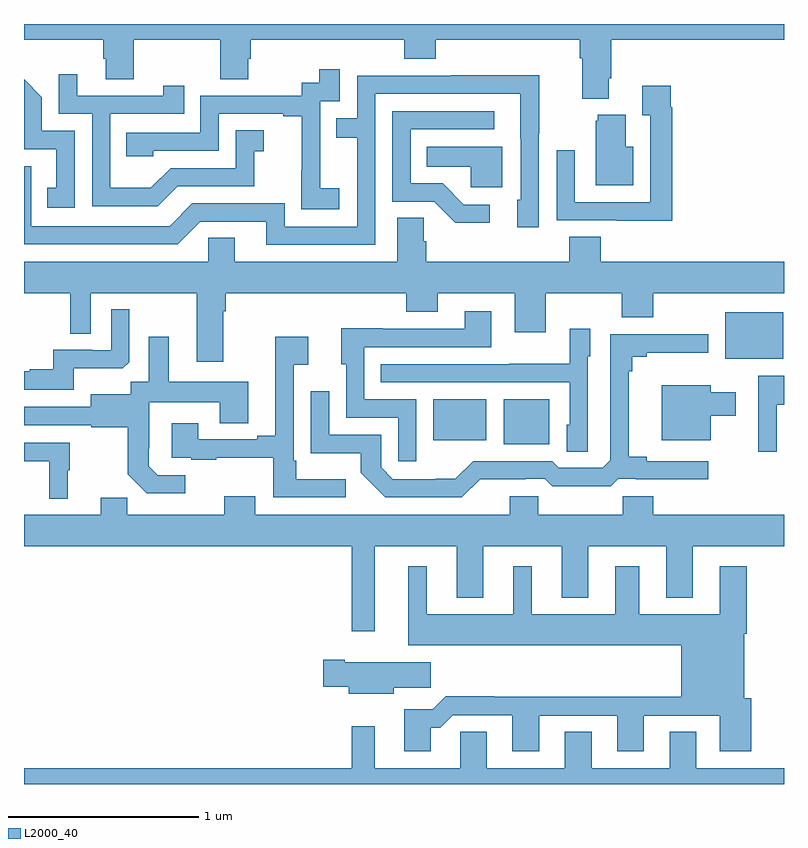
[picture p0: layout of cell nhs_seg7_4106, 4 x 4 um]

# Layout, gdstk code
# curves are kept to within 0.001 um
import gdstk
lib = gdstk.Library(unit=1e-6, precision=1e-09)
def R(c, l, rs):  # rectangles x0, y0, x1, y1
    for r in rs: c.add(gdstk.rectangle(r[:2], r[2:], *l))
def P(c, l, *ps):  # polygons
    for p in ps: c.add(gdstk.Polygon(p, *l))
L2000_40 = (2000, 40)

nhs_seg7_4106 = lib.new_cell('nhs_seg7_4106')
R(nhs_seg7_4106, L2000_40, [(373.526,1031.789,373.765,1032.025), (373.154,1031.81,373.432,1032.025), (374.69,1032.239,374.995,1032.484)])
P(nhs_seg7_4106, L2000_40, [(374.077,1033.714),(374.09,1033.714),(374.09,1033.916),(375,1033.916),(375,1034),(371,1034),(371,1033.916),(371.417,1033.916),(371.417,1033.818),(371.429,1033.818),(371.429,1033.708),(371.577,1033.708),(371.577,1033.916),(372.034,1033.916),(372.034,1033.708),(372.181,1033.708),(372.181,1033.818),(372.194,1033.818),(372.194,1033.916),(373.001,1033.916),(373.001,1033.817),(373.166,1033.817),(373.166,1033.916),(373.925,1033.916),(373.925,1033.82),(373.937,1033.82),(373.937,1033.607),(374.077,1033.607)],
  [(372.658,1033.135),(372.56,1033.135),(372.56,1033.364),(372.558,1033.364),(372.558,1033.593),(372.663,1033.593),(372.663,1033.762),(372.555,1033.762),(372.555,1033.692),(372.462,1033.692),(372.462,1033.623),(371.928,1033.623),(371.928,1033.428),(371.539,1033.428),(371.539,1033.305),(371.679,1033.305),(371.679,1033.332),(372.024,1033.332),(372.024,1033.527),(372.365,1033.527),(372.365,1033.515),(372.461,1033.515),(372.461,1033.231),(372.46,1033.231),(372.46,1033.025),(372.658,1033.025)],
  [(371.809,1033.146),(372.213,1033.146),(372.213,1033.331),(372.262,1033.331),(372.262,1033.441),(372.114,1033.441),(372.114,1033.242),(371.772,1033.242),(371.668,1033.138),(371.454,1033.138),(371.454,1033.527),(371.843,1033.527),(371.843,1033.675),(371.732,1033.675),(371.732,1033.623),(371.281,1033.623),(371.281,1033.735),(371.184,1033.735),(371.184,1033.527),(371.358,1033.527),(371.358,1033.041),(371.704,1033.041)],
  [(372.849,1033.632),(373.613,1033.632),(373.614,1033.074),(373.595,1033.074),(373.595,1032.93),(373.71,1032.93),(373.71,1033.423),(373.713,1033.423),(373.713,1033.73),(373.249,1033.73),(373.249,1033.728),(372.753,1033.728),(372.753,1033.503),(372.643,1033.503),(372.643,1033.402),(372.753,1033.402),(372.753,1032.933),(372.372,1032.933),(372.372,1033.056),(371.886,1033.056),(371.766,1032.936),(371.037,1032.936),(371.037,1033.251),(371,1033.251),(371,1032.84),(371.808,1032.84),(371.928,1032.96),(372.275,1032.96),(372.275,1032.837),(372.849,1032.837)],
  [(371.268,1033.437),(371.094,1033.437),(371.094,1033.614),(371,1033.708),(371,1033.341),(371.171,1033.341),(371.171,1033.137),(371.122,1033.137),(371.122,1033.032),(371.268,1033.032)],
  [(374.411,1033.562),(374.404,1033.562),(374.404,1033.675),(374.255,1033.675),(374.255,1033.519),(374.295,1033.519),(374.295,1033.062),(373.899,1033.062),(373.899,1033.336),(373.803,1033.336),(373.803,1032.966),(374.119,1032.966),(374.119,1032.965),(374.411,1032.965)],
  [(373.45,1033.05),(373.315,1033.05),(373.204,1033.161),(373.035,1033.161),(373.035,1033.446),(373.474,1033.446),(373.474,1033.542),(372.939,1033.542),(372.939,1033.065),(373.158,1033.065),(373.271,1032.953),(373.45,1032.953)],
  [(374.206,1033.354),(374.167,1033.354),(374.167,1033.522),(374.021,1033.522),(374.021,1033.491),(374.009,1033.491),(374.009,1033.151),(374.206,1033.151)],
  [(373.516,1033.354),(373.12,1033.354),(373.12,1033.25),(373.351,1033.25),(373.351,1033.142),(373.516,1033.142)],
  [(372.049,1032.488),(372.062,1032.488),(372.062,1032.584),(373.013,1032.584),(373.013,1032.485),(373.177,1032.485),(373.177,1032.584),(373.583,1032.584),(373.583,1032.378),(373.747,1032.378),(373.747,1032.584),(374.147,1032.584),(374.147,1032.456),(374.311,1032.456),(374.311,1032.584),(375,1032.584),(375,1032.748),(374.036,1032.748),(374.036,1032.881),(373.871,1032.881),(373.871,1032.748),(373.118,1032.748),(373.118,1032.857),(373.104,1032.857),(373.104,1032.98),(372.965,1032.98),(372.965,1032.748),(372.109,1032.748),(372.109,1032.875),(371.97,1032.875),(371.97,1032.748),(371,1032.748),(371,1032.584),(371.244,1032.584),(371.244,1032.37),(371.352,1032.37),(371.352,1032.584),(371.909,1032.584),(371.909,1032.222),(372.049,1032.222)],
  [(371.263,1032.188),(371.521,1032.188),(371.553,1032.219),(371.553,1032.499),(371.46,1032.499),(371.46,1032.282),(371.36,1032.282),(371.36,1032.285),(371.153,1032.285),(371.153,1032.184),(371.029,1032.184),(371.029,1032.172),(371,1032.172),(371,1032.075),(371.263,1032.075)],
  [(373.065,1032.024),(372.792,1032.024),(372.792,1032.3),(373.459,1032.3),(373.459,1032.487),(373.319,1032.487),(373.319,1032.396),(372.889,1032.396),(372.889,1032.398),(372.671,1032.398),(372.671,1032.21),(372.696,1032.21),(372.696,1031.928),(372.969,1031.928),(372.969,1031.7),(373.065,1031.7)],
  [(373.968,1032.252),(373.981,1032.252),(373.981,1032.397),(373.872,1032.397),(373.872,1032.211),(373.555,1032.211),(373.555,1032.21),(372.877,1032.21),(372.877,1032.114),(373.872,1032.114),(373.872,1031.892),(373.856,1031.892),(373.856,1031.749),(373.968,1031.749)],
  [(373.4,1031.603),(373.64,1031.603),(373.64,1031.607),(373.74,1031.607),(373.78,1031.568),(374.087,1031.568),(374.127,1031.607),(374.221,1031.607),(374.221,1031.603),(374.602,1031.603),(374.602,1031.7),(374.278,1031.7),(374.278,1031.723),(374.182,1031.723),(374.182,1032.173),(374.201,1032.173),(374.201,1032.25),(374.278,1032.25),(374.278,1032.269),(374.602,1032.269),(374.602,1032.366),(374.085,1032.366),(374.085,1031.703),(374.046,1031.664),(373.815,1031.664),(373.779,1031.7),(373.365,1031.7),(373.271,1031.606),(373.166,1031.606),(373.166,1031.604),(372.942,1031.604),(372.879,1031.667),(372.879,1031.838),(372.606,1031.838),(372.606,1032.067),(372.51,1032.067),(372.51,1031.741),(372.772,1031.741),(372.772,1031.639),(372.902,1031.508),(373.305,1031.508)],
  [(372.694,1031.605),(372.433,1031.605),(372.433,1031.701),(372.42,1031.701),(372.42,1032.206),(372.496,1032.206),(372.496,1032.355),(372.323,1032.355),(372.323,1031.833),(372.227,1031.833),(372.227,1031.814),(371.917,1031.814),(371.917,1031.899),(371.777,1031.899),(371.777,1031.718),(371.881,1031.718),(371.881,1031.706),(372.013,1031.706),(372.013,1031.717),(372.312,1031.717),(372.312,1031.508),(372.694,1031.508)],
  [(371.848,1031.625),(371.703,1031.625),(371.656,1031.672),(371.656,1031.767),(371.658,1031.767),(371.658,1032.008),(372.029,1032.008),(372.029,1031.899),(372.181,1031.899),(372.181,1032.118),(371.761,1032.118),(371.761,1032.355),(371.657,1032.355),(371.657,1032.116),(371.562,1032.116),(371.562,1032.052),(371.351,1032.052),(371.351,1031.985),(371,1031.985),(371,1031.889),(371.355,1031.889),(371.355,1031.877),(371.547,1031.877),(371.547,1031.631),(371.647,1031.531),(371.848,1031.531)],
  [(374.963,1031.996),(375,1031.996),(375,1032.148),(374.865,1032.148),(374.865,1031.748),(374.963,1031.748)],
  [(374.614,1031.939),(374.746,1031.939),(374.746,1032.061),(374.614,1032.061),(374.614,1032.1),(374.357,1032.1),(374.357,1031.81),(374.614,1031.81)],
  [(371.23,1031.652),(371.242,1031.652),(371.242,1031.796),(371,1031.796),(371,1031.7),(371.132,1031.7),(371.132,1031.501),(371.23,1031.501)],
  [(372.847,1031.252),(373.277,1031.252),(373.277,1030.979),(373.417,1030.979),(373.417,1031.252),(373.829,1031.252),(373.829,1030.979),(373.969,1030.979),(373.969,1031.252),(374.381,1031.252),(374.381,1030.979),(374.521,1030.979),(374.521,1031.252),(375,1031.252),(375,1031.416),(374.312,1031.416),(374.312,1031.514),(374.152,1031.514),(374.152,1031.416),(373.707,1031.416),(373.707,1031.514),(373.556,1031.514),(373.556,1031.416),(372.217,1031.416),(372.217,1031.515),(372.053,1031.515),(372.053,1031.416),(371.543,1031.416),(371.543,1031.507),(371.405,1031.507),(371.405,1031.416),(371,1031.416),(371,1031.252),(372.726,1031.252),(372.726,1030.803),(372.847,1030.803)],
  [(373.141,1030.295),(373.19,1030.295),(373.257,1030.362),(373.571,1030.362),(373.571,1030.173),(373.711,1030.173),(373.711,1030.359),(374.123,1030.359),(374.123,1030.173),(374.263,1030.173),(374.263,1030.359),(374.663,1030.359),(374.663,1030.173),(374.828,1030.173),(374.828,1030.452),(374.791,1030.452),(374.791,1030.79),(374.804,1030.79),(374.804,1031.146),(374.663,1031.146),(374.663,1030.894),(374.239,1030.894),(374.239,1031.146),(374.111,1031.146),(374.111,1030.894),(373.672,1030.894),(373.672,1031.146),(373.574,1031.146),(373.574,1030.894),(373.12,1030.894),(373.12,1031.146),(373.022,1031.146),(373.022,1030.73),(374.459,1030.73),(374.459,1030.46),(373.475,1030.46),(373.475,1030.463),(373.22,1030.463),(373.15,1030.393),(373.001,1030.393),(373.001,1030.173),(373.141,1030.173)],
  [(372.946,1030.507),(373.141,1030.507),(373.141,1030.642),(372.688,1030.642),(372.688,1030.655),(372.576,1030.655),(372.576,1030.513),(372.71,1030.513),(372.71,1030.475),(372.946,1030.475)],
  [(375,1030.084),(374.539,1030.084),(374.539,1030.274),(374.399,1030.274),(374.399,1030.084),(373.987,1030.084),(373.987,1030.274),(373.847,1030.274),(373.847,1030.084),(373.435,1030.084),(373.435,1030.274),(373.296,1030.274),(373.296,1030.084),(372.847,1030.084),(372.847,1030.305),(372.726,1030.305),(372.726,1030.084),(371,1030.084),(371,1030),(375,1030)])

lib.write_gds('nhs_seg7_4106.gds')
